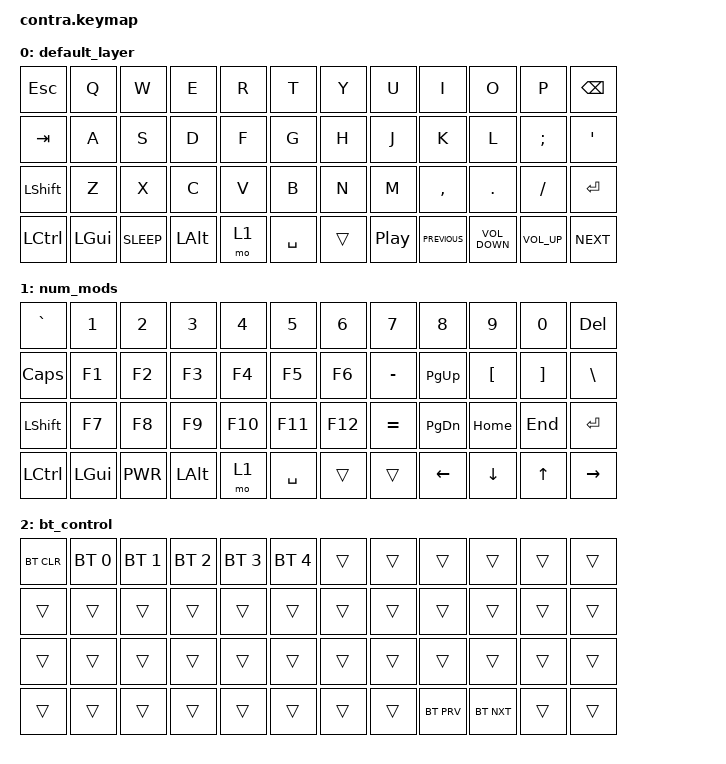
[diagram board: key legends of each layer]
/*
 * Copyright (c) 2021 The ZMK Contributors
 *
 * SPDX-License-Identifier: MIT
 */

#include <behaviors.dtsi>
#include <dt-bindings/zmk/keys.h>
#include <dt-bindings/zmk/bt.h>

#define DEFAULT  0
#define NUM_MODS 1
#define BT_CTRL  2

/ {
    keymap {
        compatible = "zmk,keymap";

        default_layer {
            bindings = <
  &kp ESC     &kp Q        &kp W         &kp E  &kp R      &kp T   &kp Y             &kp U           &kp I              &kp O         &kp P    &kp BSPC
  &kp TAB     &kp A        &kp S         &kp D  &kp F      &kp G   &kp H             &kp J           &kp K              &kp L      &kp SEMI     &kp SQT
&kp LSHFT     &kp Z        &kp X         &kp C  &kp V      &kp B   &kp N             &kp M       &kp COMMA            &kp DOT      &kp FSLH   &kp ENTER
&kp LCTRL  &kp LGUI  &kp K_SLEEP  &kp LEFT_ALT  &mo 1  &kp SPACE  &trans  &kp C_PLAY_PAUSE  &kp C_PREVIOUS  &kp C_VOLUME_DOWN  &kp C_VOL_UP  &kp C_NEXT
            >;
        };

        num_mods {
            bindings = <
   &kp GRAVE    &kp N1     &kp N2        &kp N3   &kp N4     &kp N5   &kp N6     &kp N7     &kp N8          &kp N9    &kp N0    &kp DEL
&kp CAPSLOCK    &kp F1     &kp F2        &kp F3   &kp F4     &kp F5   &kp F6  &kp MINUS  &kp PG_UP        &kp LBKT  &kp RBKT   &kp BSLH
   &kp LSHFT    &kp F7     &kp F8        &kp F9  &kp F10    &kp F11  &kp F12  &kp EQUAL  &kp PG_DN        &kp HOME   &kp END  &kp ENTER
   &kp LCTRL  &kp LGUI  &kp K_PWR  &kp LEFT_ALT    &mo 1  &kp SPACE   &trans     &trans   &kp LEFT  &kp DOWN_ARROW    &kp UP  &kp RIGHT
            >;
        };

        bt_control {
            bindings = <
&bt BT_CLR  &bt BT_SEL 0  &bt BT_SEL 1  &bt BT_SEL 2  &bt BT_SEL 3  &bt BT_SEL 4  &trans  &trans      &trans      &trans  &trans  &trans
    &trans        &trans        &trans        &trans        &trans        &trans  &trans  &trans      &trans      &trans  &trans  &trans
    &trans        &trans        &trans        &trans        &trans        &trans  &trans  &trans      &trans      &trans  &trans  &trans
    &trans        &trans        &trans        &trans        &trans        &trans  &trans  &trans  &bt BT_PRV  &bt BT_NXT  &trans  &trans
            >;
        };
    };
};
